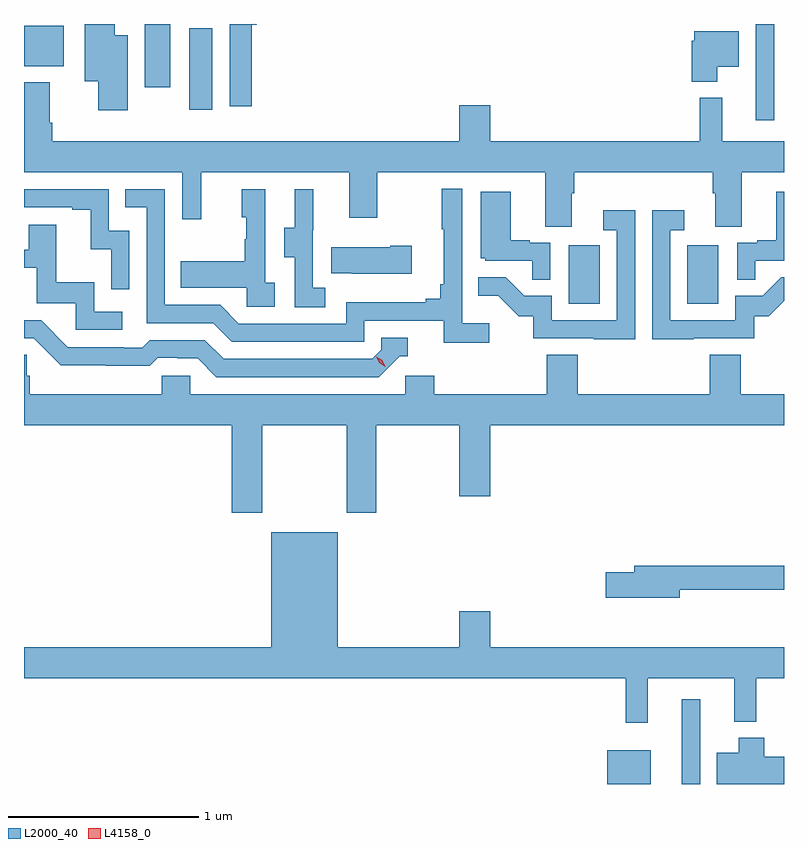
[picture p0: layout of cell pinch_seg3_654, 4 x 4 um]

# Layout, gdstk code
import gdstk
lib = gdstk.Library(unit=1e-6, precision=1e-09)
def R(c, l, rs):  # rectangles x0, y0, x1, y1
    for r in rs: c.add(gdstk.rectangle(r[:2], r[2:], *l))
def P(c, l, *ps):  # polygons
    for p in ps: c.add(gdstk.Polygon(p, *l))
L2000_40 = (2000, 40)
L4158_0 = (4158, 0)

pinch_seg3_654 = lib.new_cell('pinch_seg3_654')
R(pinch_seg3_654, L2000_40, [(1064.888,675.052,1065.115,675.229), (1065.278,675.052,1065.375,675.499), (1064.684,677.58,1064.848,677.887), (1065.308,677.58,1065.472,677.887), (1065.669,678.546,1065.766,679.052), (1062.686,678.6,1062.808,679.03), (1062.452,678.72,1062.586,679.052), (1061.817,678.83,1062.025,679.042)])
P(pinch_seg3_654, L2000_40, [(1062.364,678.994),(1062.295,678.994),(1062.295,679.052),(1062.137,679.052),(1062.137,678.752),(1062.209,678.752),(1062.209,678.597),(1062.364,678.597)],
  [(1063.016,679.049),(1063.043,679.049),(1063.043,679.052),(1062.9,679.052),(1062.9,678.618),(1063.016,678.618)],
  [(1065.466,678.827),(1065.58,678.827),(1065.58,679.015),(1065.344,679.015),(1065.344,678.963),(1065.332,678.963),(1065.332,678.749),(1065.466,678.749)],
  [(1064.701,678.16),(1064.714,678.16),(1064.714,678.272),(1065.443,678.272),(1065.443,678.16),(1065.455,678.16),(1065.455,677.986),(1065.595,677.986),(1065.595,678.272),(1065.817,678.272),(1065.817,678.436),(1065.491,678.436),(1065.491,678.664),(1065.373,678.664),(1065.373,678.436),(1064.272,678.436),(1064.272,678.625),(1064.108,678.625),(1064.108,678.436),(1061.966,678.436),(1061.966,678.532),(1061.953,678.532),(1061.953,678.745),(1061.817,678.745),(1061.817,678.272),(1062.651,678.272),(1062.651,678.024),(1062.749,678.024),(1062.749,678.272),(1063.529,678.272),(1063.529,678.033),(1063.677,678.033),(1063.677,678.272),(1064.561,678.272),(1064.561,677.986),(1064.701,677.986)],
  [(1064.266,677.476),(1064.124,677.476),(1064.124,678.184),(1064.016,678.184),(1064.016,677.971),(1064.027,677.971),(1064.027,677.683),(1064.008,677.683),(1064.008,677.606),(1063.931,677.606),(1063.931,677.587),(1063.512,677.587),(1063.512,677.475),(1062.948,677.475),(1062.849,677.574),(1062.558,677.574),(1062.558,678.183),(1062.349,678.183),(1062.349,678.087),(1062.462,678.087),(1062.462,677.478),(1062.812,677.478),(1062.911,677.379),(1063.608,677.379),(1063.608,677.49),(1064.027,677.49),(1064.027,677.374),(1064.266,677.374)],
  [(1062.372,677.964),(1062.264,677.964),(1062.264,678.183),(1061.817,678.183),(1061.817,678.087),(1062.071,678.087),(1062.071,678.075),(1062.167,678.075),(1062.167,677.867),(1062.276,677.867),(1062.276,677.655),(1062.372,677.655)],
  [(1063.402,677.663),(1063.338,677.663),(1063.338,677.967),(1063.34,677.967),(1063.34,678.181),(1063.241,678.181),(1063.241,677.979),(1063.187,677.979),(1063.187,677.824),(1063.242,677.824),(1063.242,677.56),(1063.402,677.56)],
  [(1063.138,677.69),(1063.086,677.69),(1063.086,678.181),(1062.962,678.181),(1062.962,678.036),(1062.988,678.036),(1062.988,677.918),(1062.978,677.918),(1062.978,677.803),(1062.643,677.803),(1062.643,677.663),(1062.99,677.663),(1062.99,677.565),(1063.138,677.565)],
  [(1064.586,677.901),(1064.48,677.901),(1064.48,677.914),(1064.38,677.914),(1064.38,678.169),(1064.222,678.169),(1064.222,677.82),(1064.244,677.82),(1064.244,677.805),(1064.491,677.805),(1064.491,677.707),(1064.586,677.707)],
  [(1065.665,677.805),(1065.817,677.805),(1065.817,678.169),(1065.776,678.169),(1065.776,677.914),(1065.677,677.914),(1065.677,677.901),(1065.57,677.901),(1065.57,677.707),(1065.665,677.707)],
  [(1065.341,677.397),(1065.66,677.397),(1065.66,677.514),(1065.736,677.514),(1065.817,677.595),(1065.817,677.72),(1065.803,677.72),(1065.705,677.622),(1065.561,677.622),(1065.561,677.493),(1065.219,677.493),(1065.219,677.967),(1065.292,677.967),(1065.292,678.073),(1065.123,678.073),(1065.123,677.392),(1065.341,677.392)],
  [(1065.033,678.073),(1064.865,678.073),(1064.865,677.967),(1064.937,677.967),(1064.937,677.493),(1064.595,677.493),(1064.595,677.622),(1064.451,677.622),(1064.353,677.72),(1064.209,677.72),(1064.209,677.621),(1064.313,677.621),(1064.42,677.514),(1064.497,677.514),(1064.497,677.397),(1064.815,677.397),(1064.815,677.392),(1065.033,677.392)],
  [(1062.334,677.538),(1062.186,677.538),(1062.186,677.692),(1061.987,677.692),(1061.987,677.995),(1061.843,677.995),(1061.843,677.865),(1061.817,677.865),(1061.817,677.769),(1061.885,677.769),(1061.885,677.583),(1062.09,677.583),(1062.09,677.442),(1062.334,677.442)],
  [(1063.858,677.886),(1063.745,677.886),(1063.745,677.878),(1063.435,677.878),(1063.435,677.741),(1063.543,677.741),(1063.543,677.738),(1063.858,677.738)],
  [(1063.794,677.304),(1063.837,677.304),(1063.837,677.4),(1063.698,677.4),(1063.698,677.337),(1063.65,677.289),(1062.867,677.289),(1062.768,677.388),(1062.479,677.388),(1062.44,677.349),(1062.341,677.349),(1062.341,677.352),(1062.048,677.352),(1061.907,677.493),(1061.817,677.493),(1061.817,677.397),(1061.868,677.397),(1062.01,677.255),(1062.246,677.255),(1062.246,677.253),(1062.479,677.253),(1062.521,677.295),(1062.624,677.295),(1062.624,677.292),(1062.731,677.292),(1062.83,677.193),(1063.683,677.193)],
  [(1063.071,676.94),(1063.516,676.94),(1063.516,676.479),(1063.671,676.479),(1063.671,676.94),(1064.108,676.94),(1064.108,676.566),(1064.272,676.566),(1064.272,676.94),(1065.817,676.94),(1065.817,677.104),(1065.59,677.104),(1065.59,677.312),(1065.425,677.312),(1065.425,677.104),(1064.732,677.104),(1064.732,677.312),(1064.567,677.312),(1064.567,677.104),(1063.976,677.104),(1063.976,677.202),(1063.824,677.202),(1063.824,677.104),(1062.693,677.104),(1062.693,677.202),(1062.543,677.202),(1062.543,677.104),(1061.846,677.104),(1061.846,677.202),(1061.831,677.202),(1061.831,677.312),(1061.817,677.312),(1061.817,676.94),(1062.911,676.94),(1062.911,676.479),(1063.071,676.479)],
  [(1065.101,675.608),(1065.554,675.608),(1065.554,675.38),(1065.671,675.38),(1065.671,675.608),(1065.817,675.608),(1065.817,675.772),(1064.272,675.772),(1064.272,675.961),(1064.108,675.961),(1064.108,675.772),(1063.468,675.772),(1063.468,676.378),(1063.118,676.378),(1063.118,675.772),(1061.817,675.772),(1061.817,675.608),(1064.983,675.608),(1064.983,675.375),(1065.101,675.375)],
  [(1065.268,676.074),(1065.817,676.074),(1065.817,676.202),(1065.029,676.202),(1065.029,676.166),(1064.88,676.166),(1064.88,676.031),(1065.268,676.031)],
  [(1065.817,675.195),(1065.713,675.195),(1065.713,675.295),(1065.578,675.295),(1065.578,675.217),(1065.464,675.217),(1065.464,675.052),(1065.817,675.052)])
P(pinch_seg3_654, L4158_0, [(1063.718,677.249),(1063.688,677.268),(1063.672,677.301),(1063.672,677.301),(1063.672,677.301),(1063.703,677.282),(1063.719,677.249),(1063.719,677.249)])

lib.write_gds('pinch_seg3_654.gds')
